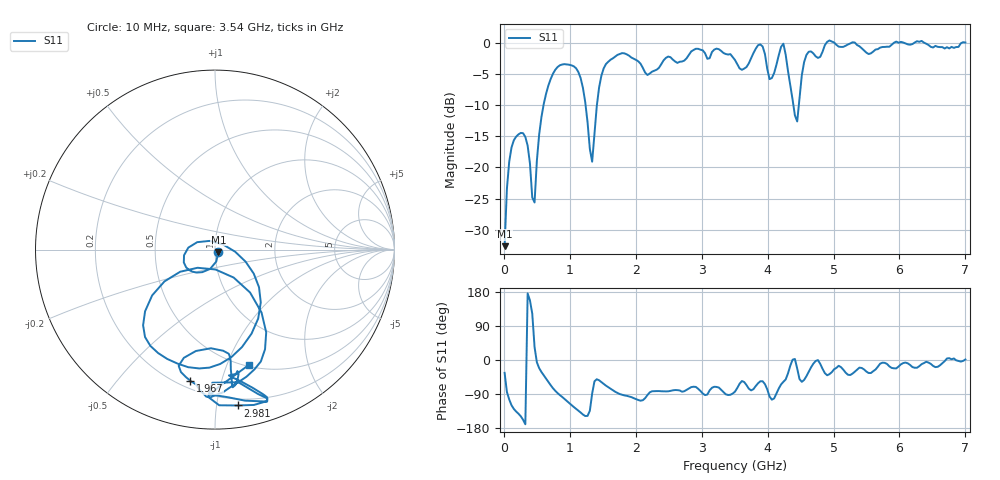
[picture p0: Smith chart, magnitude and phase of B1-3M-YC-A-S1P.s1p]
!File created by NanoVNA
# Hz S RI R 50
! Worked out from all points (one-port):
!   201 points, 10 MHz to 7 GHz, reference 50 ohm
!   lowest |S11| = -32.6 dB at 10 MHz (marker M1), VSWR 1.05, Z = 52 - j1.35 ohm
!   |S11| at or under -10 dB: start of sweep to 601.1 MHz; 1.238 GHz to 1.41 GHz (172.3 MHz wide, 13 % of centre); 4.39 GHz to 4.473 GHz (82.97 MHz wide, 1.87 % of centre)
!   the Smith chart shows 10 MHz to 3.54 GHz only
!   S11 on the Smith chart (normalised r, x): 10 MHz: 1.04, -0.03; 1.967 GHz: 0.24, -0.80; 2.981 GHz: 0.15, -1.15; 3.54 GHz: 0.51, -1.20
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1e7  0.0194 -0.013
1.1485e8  -0.071 -0.1257
3.2455e8  -0.1725 -0.0316
4.6435e8  0.0432 0.0294
6.0415e8  0.2453 -0.2099
8.8375e8  -0.0873 -0.6622
1.16335e9  -0.3896 -0.3438
1.3381e9  0.00269 -0.1108
1.4779e9  0.2853 -0.4613
1.7575e9  0.000509 -0.8113
1.9672e9  -0.1367 -0.7315
2.63125e9  0.1248 -0.6766
2.98075e9  0.1282 -0.8684
3.505e9  0.0822 -0.7204
3.53995e9  0.188 -0.6429
3.9244e9  0.5189 -0.7726
4.0642e9  -0.1327 -0.503
4.23895e9  0.5259 -0.8273
4.37875e9  0.3484 0.00534
4.44865e9  0.2153 -0.0899
4.5535e9  0.4241 -0.5545
4.7632e9  0.7539 -0.00395
4.903e9  0.7737 -0.6555
5.07775e9  0.8957 -0.2452
5.2525e9  0.7577 -0.628
5.7418e9  0.9155 -0.114
6.12625e9  0.957 -0.1488
7e9  1.001 0.024
